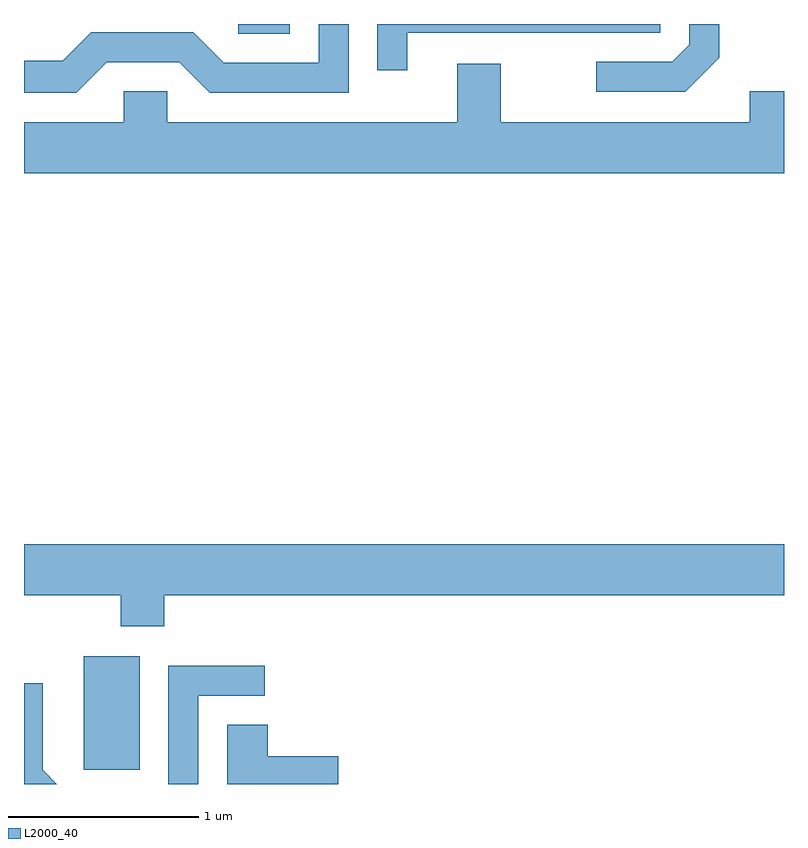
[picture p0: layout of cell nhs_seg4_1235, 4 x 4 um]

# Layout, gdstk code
import gdstk
lib = gdstk.Library(unit=1e-6, precision=1e-09)
def R(c, l, rs):  # rectangles x0, y0, x1, y1
    for r in rs: c.add(gdstk.rectangle(r[:2], r[2:], *l))
def P(c, l, *ps):  # polygons
    for p in ps: c.add(gdstk.Polygon(p, *l))
L2000_40 = (2000, 40)

nhs_seg4_1235 = lib.new_cell('nhs_seg4_1235')
R(nhs_seg4_1235, L2000_40, [(221.926,1276.056,222.219,1276.654), (222.738,1279.931,223.009,1279.982)])
P(nhs_seg4_1235, L2000_40, [(223.629,1279.936),(224.959,1279.936),(224.959,1279.982),(223.471,1279.982),(223.471,1279.738),(223.629,1279.738)],
  [(225.269,1279.804),(225.269,1279.982),(225.111,1279.982),(225.111,1279.872),(225.024,1279.784),(224.623,1279.784),(224.623,1279.626),(225.092,1279.626)],
  [(222.047,1279.781),(222.429,1279.781),(222.589,1279.621),(223.319,1279.621),(223.319,1279.982),(223.161,1279.982),(223.161,1279.779),(222.662,1279.779),(222.502,1279.939),(221.964,1279.939),(221.814,1279.789),(221.611,1279.789),(221.611,1279.621),(221.887,1279.621)],
  [(225.611,1279.629),(225.431,1279.629),(225.431,1279.464),(224.119,1279.464),(224.119,1279.774),(223.891,1279.774),(223.891,1279.464),(222.364,1279.464),(222.364,1279.629),(222.136,1279.629),(222.136,1279.464),(221.611,1279.464),(221.611,1279.196),(225.611,1279.196)],
  [(222.349,1276.976),(225.611,1276.976),(225.611,1277.244),(221.611,1277.244),(221.611,1276.976),(222.121,1276.976),(222.121,1276.811),(222.349,1276.811)],
  [(222.529,1276.446),(222.878,1276.446),(222.878,1276.604),(222.371,1276.604),(222.371,1275.982),(222.529,1275.982)],
  [(221.709,1276.057),(221.709,1276.513),(221.611,1276.513),(221.611,1275.982),(221.784,1275.982)],
  [(223.264,1276.129),(222.894,1276.129),(222.894,1276.294),(222.681,1276.294),(222.681,1275.982),(223.264,1275.982)])

lib.write_gds('nhs_seg4_1235.gds')
